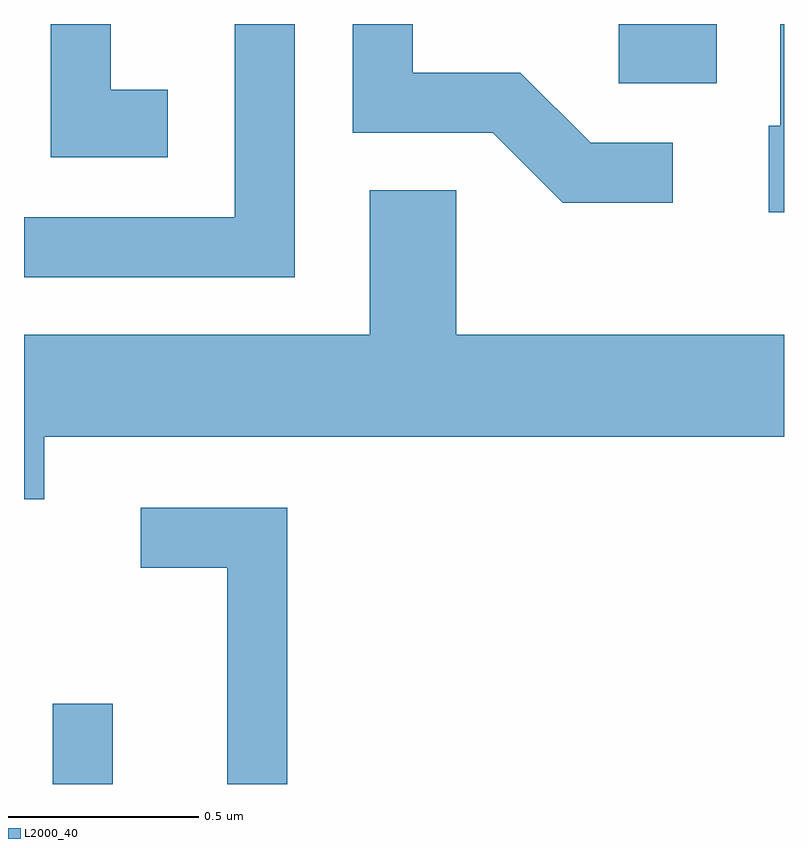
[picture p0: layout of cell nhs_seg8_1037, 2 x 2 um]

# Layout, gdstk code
import gdstk
lib = gdstk.Library(unit=1e-6, precision=1e-09)
def R(c, l, rs):  # rectangles x0, y0, x1, y1
    for r in rs: c.add(gdstk.rectangle(r[:2], r[2:], *l))
def P(c, l, *ps):  # polygons
    for p in ps: c.add(gdstk.Polygon(p, *l))
L2000_40 = (2000, 40)

nhs_seg8_1037 = lib.new_cell('nhs_seg8_1037')
R(nhs_seg8_1037, L2000_40, [(192.686,1884.342,192.844,1884.553), (194.176,1886.186,194.434,1886.342)])
P(nhs_seg8_1037, L2000_40, [(194.318,1886.029),(194.102,1886.029),(193.917,1886.214),(193.634,1886.214),(193.634,1886.342),(193.476,1886.342),(193.476,1886.056),(193.844,1886.056),(194.029,1885.871),(194.318,1885.871)],
  [(193.324,1886.342),(193.166,1886.342),(193.166,1885.834),(192.611,1885.834),(192.611,1885.676),(193.324,1885.676)],
  [(194.611,1886.342),(194.601,1886.342),(194.601,1886.074),(194.571,1886.074),(194.571,1885.846),(194.611,1885.846)],
  [(192.989,1886.169),(192.839,1886.169),(192.839,1886.342),(192.681,1886.342),(192.681,1885.991),(192.989,1885.991)],
  [(192.664,1885.256),(194.611,1885.256),(194.611,1885.524),(193.749,1885.524),(193.749,1885.904),(193.521,1885.904),(193.521,1885.524),(192.611,1885.524),(192.611,1885.091),(192.664,1885.091)],
  [(193.304,1885.069),(192.918,1885.069),(192.918,1884.911),(193.146,1884.911),(193.146,1884.342),(193.304,1884.342)])

lib.write_gds('nhs_seg8_1037.gds')
